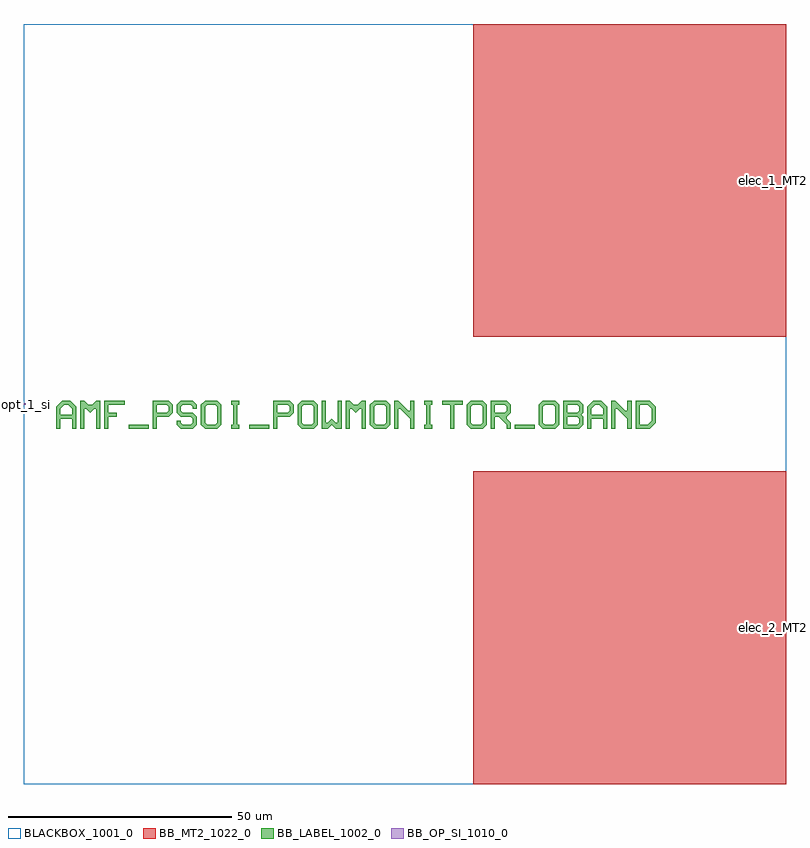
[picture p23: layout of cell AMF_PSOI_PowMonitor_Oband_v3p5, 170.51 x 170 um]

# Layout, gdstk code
import gdstk
lib = gdstk.Library(unit=1e-6, precision=1e-09)
def R(c, l, rs):  # rectangles x0, y0, x1, y1
    for r in rs: c.add(gdstk.rectangle(r[:2], r[2:], *l))
def P(c, l, *ps):  # polygons
    for p in ps: c.add(gdstk.Polygon(p, *l))
BLACKBOX_1001_0 = (1001, 0)
BB_LABEL_1002_0 = (1002, 0)
BB_OP_SI_1010_0 = (1010, 0)
BB_MT2_1022_0 = (1022, 0)

amf_psoi_powmonitor_oban = lib.new_cell('AMF_PSOI_PowMonitor_Oband_v3p5')
R(amf_psoi_powmonitor_oban, BLACKBOX_1001_0, [(0,-85,170.51,85)])
R(amf_psoi_powmonitor_oban, BB_LABEL_1002_0, [(23.423,-5.572,27.923,-4.672), (50.423,-5.572,54.923,-4.672), (109.823,-5.572,114.323,-4.672)])
P(amf_psoi_powmonitor_oban, BB_LABEL_1002_0, [(7.223,-5.572),(7.223,-0.622),(8.573,0.728),(10.373,0.728),(11.273,-0.172),(9.023,-0.172),(8.123,-1.072),(8.123,-2.422),(10.823,-2.422),(10.823,-1.072),(9.923,-0.172),(11.273,-0.172),(11.723,-0.622),(11.723,-5.572),(10.823,-5.572),(10.823,-3.322),(8.123,-3.322),(8.123,-5.572)],
  [(12.623,-5.572),(12.623,0.728),(13.523,0.728),(14.423,-0.172),(15.323,-0.172),(16.223,0.728),(17.123,0.728),(17.123,-5.572),(16.223,-5.572),(16.223,-1.072),(15.773,-1.072),(14.873,-1.972),(13.973,-1.072),(13.523,-1.072),(13.523,-5.572)],
  [(18.023,-5.572),(18.023,0.728),(22.523,0.728),(22.523,-0.172),(18.923,-0.172),(18.923,-1.972),(20.723,-1.972),(20.723,-2.872),(18.923,-2.872),(18.923,-5.572)],
  [(28.823,-5.572),(28.823,0.728),(32.423,0.728),(33.323,-0.172),(33.323,-1.972),(32.423,-2.872),(29.723,-2.872),(29.723,-1.972),(31.973,-1.972),(32.423,-1.522),(32.423,-0.622),(31.973,-0.172),(29.723,-0.172),(29.723,-5.572)],
  [(35.123,-5.572),(34.223,-4.672),(34.223,-3.772),(35.123,-3.772),(35.123,-4.222),(35.573,-4.672),(37.373,-4.672),(37.823,-4.222),(37.823,-3.322),(37.373,-2.872),(35.123,-2.872),(34.223,-1.972),(34.223,-0.172),(35.123,0.728),(37.823,0.728),(38.723,-0.172),(38.723,-1.072),(37.823,-1.072),(37.823,-0.622),(37.373,-0.172),(35.573,-0.172),(35.123,-0.622),(35.123,-1.522),(35.573,-1.972),(37.823,-1.972),(38.723,-2.872),(38.723,-4.672),(37.823,-5.572)],
  [(40.523,-5.572),(39.623,-4.672),(39.623,-0.172),(40.523,0.728),(43.223,0.728),(44.123,-0.172),(44.123,-2.422),(43.223,-2.422),(43.223,-0.622),(42.773,-0.172),(40.973,-0.172),(40.523,-0.622),(40.523,-4.222),(40.973,-4.672),(42.773,-4.672),(43.223,-4.222),(43.223,-2.422),(44.123,-2.422),(44.123,-4.672),(43.223,-5.572)],
  [(46.373,-5.572),(46.373,-4.672),(46.823,-4.672),(46.823,-0.172),(46.373,-0.172),(46.373,0.728),(48.173,0.728),(48.173,-0.172),(47.723,-0.172),(47.723,-4.672),(48.173,-4.672),(48.173,-5.572)],
  [(55.823,-5.572),(55.823,0.728),(59.423,0.728),(60.323,-0.172),(60.323,-1.972),(59.423,-2.872),(56.723,-2.872),(56.723,-1.972),(58.973,-1.972),(59.423,-1.522),(59.423,-0.622),(58.973,-0.172),(56.723,-0.172),(56.723,-5.572)],
  [(62.123,-5.572),(61.223,-4.672),(61.223,-0.172),(62.123,0.728),(64.823,0.728),(65.723,-0.172),(65.723,-2.422),(64.823,-2.422),(64.823,-0.622),(64.373,-0.172),(62.573,-0.172),(62.123,-0.622),(62.123,-4.222),(62.573,-4.672),(64.373,-4.672),(64.823,-4.222),(64.823,-2.422),(65.723,-2.422),(65.723,-4.672),(64.823,-5.572)],
  [(66.623,-5.572),(66.623,0.728),(67.523,0.728),(67.523,-4.222),(67.973,-4.222),(68.873,-3.322),(69.773,-4.222),(70.223,-4.222),(70.223,0.728),(71.123,0.728),(71.123,-5.572),(69.773,-5.572),(68.873,-4.672),(67.973,-5.572)],
  [(72.023,-5.572),(72.023,0.728),(72.923,0.728),(73.823,-0.172),(74.723,-0.172),(75.623,0.728),(76.523,0.728),(76.523,-5.572),(75.623,-5.572),(75.623,-1.072),(75.173,-1.072),(74.273,-1.972),(73.373,-1.072),(72.923,-1.072),(72.923,-5.572)],
  [(78.323,-5.572),(77.423,-4.672),(77.423,-0.172),(78.323,0.728),(81.023,0.728),(81.923,-0.172),(81.923,-2.422),(81.023,-2.422),(81.023,-0.622),(80.573,-0.172),(78.773,-0.172),(78.323,-0.622),(78.323,-4.222),(78.773,-4.672),(80.573,-4.672),(81.023,-4.222),(81.023,-2.422),(81.923,-2.422),(81.923,-4.672),(81.023,-5.572)],
  [(82.823,-5.572),(82.823,0.728),(83.723,0.728),(85.973,-1.522),(86.423,-1.522),(86.423,0.728),(87.323,0.728),(87.323,-5.572),(86.423,-5.572),(86.423,-3.322),(84.173,-1.072),(83.723,-1.072),(83.723,-5.572)],
  [(89.573,-5.572),(89.573,-4.672),(90.023,-4.672),(90.023,-0.172),(89.573,-0.172),(89.573,0.728),(91.373,0.728),(91.373,-0.172),(90.923,-0.172),(90.923,-4.672),(91.373,-4.672),(91.373,-5.572)],
  [(95.423,-5.572),(95.423,-0.172),(93.623,-0.172),(93.623,0.728),(98.123,0.728),(98.123,-0.172),(96.323,-0.172),(96.323,-5.572)],
  [(99.923,-5.572),(99.023,-4.672),(99.023,-0.172),(99.923,0.728),(102.623,0.728),(103.523,-0.172),(103.523,-2.422),(102.623,-2.422),(102.623,-0.622),(102.173,-0.172),(100.373,-0.172),(99.923,-0.622),(99.923,-4.222),(100.373,-4.672),(102.173,-4.672),(102.623,-4.222),(102.623,-2.422),(103.523,-2.422),(103.523,-4.672),(102.623,-5.572)],
  [(104.423,-5.572),(104.423,0.728),(108.023,0.728),(108.923,-0.172),(105.323,-0.172),(105.323,-1.972),(107.573,-1.972),(108.023,-1.522),(108.023,-0.622),(107.573,-0.172),(108.923,-0.172),(108.923,-1.972),(108.023,-2.872),(108.023,-3.322),(108.923,-4.222),(108.923,-5.572),(108.023,-5.572),(108.023,-4.672),(106.223,-2.872),(105.323,-2.872),(105.323,-5.572)],
  [(116.123,-5.572),(115.223,-4.672),(115.223,-0.172),(116.123,0.728),(118.823,0.728),(119.723,-0.172),(119.723,-2.422),(118.823,-2.422),(118.823,-0.622),(118.373,-0.172),(116.573,-0.172),(116.123,-0.622),(116.123,-4.222),(116.573,-4.672),(118.373,-4.672),(118.823,-4.222),(118.823,-2.422),(119.723,-2.422),(119.723,-4.672),(118.823,-5.572)],
  [(120.623,-5.572),(120.623,0.728),(124.223,0.728),(125.123,-0.172),(121.523,-0.172),(121.523,-1.972),(123.773,-1.972),(124.223,-1.522),(124.223,-0.622),(123.773,-0.172),(125.123,-0.172),(125.123,-1.972),(124.673,-2.422),(125.123,-2.872),(121.523,-2.872),(121.523,-4.672),(123.773,-4.672),(124.223,-4.222),(124.223,-3.322),(123.773,-2.872),(125.123,-2.872),(125.123,-4.672),(124.223,-5.572)],
  [(126.023,-5.572),(126.023,-0.622),(127.373,0.728),(129.173,0.728),(130.073,-0.172),(127.823,-0.172),(126.923,-1.072),(126.923,-2.422),(129.623,-2.422),(129.623,-1.072),(128.723,-0.172),(130.073,-0.172),(130.523,-0.622),(130.523,-5.572),(129.623,-5.572),(129.623,-3.322),(126.923,-3.322),(126.923,-5.572)],
  [(131.423,-5.572),(131.423,0.728),(132.323,0.728),(134.573,-1.522),(135.023,-1.522),(135.023,0.728),(135.923,0.728),(135.923,-5.572),(135.023,-5.572),(135.023,-3.322),(132.773,-1.072),(132.323,-1.072),(132.323,-5.572)],
  [(136.823,-5.572),(136.823,0.728),(139.973,0.728),(140.873,-0.172),(137.723,-0.172),(137.723,-4.672),(139.523,-4.672),(140.423,-3.772),(140.423,-1.072),(139.523,-0.172),(140.873,-0.172),(141.323,-0.622),(141.323,-4.222),(139.973,-5.572)])
R(amf_psoi_powmonitor_oban, BB_OP_SI_1010_0, [(0,-0.205,0.41,0.205)])
R(amf_psoi_powmonitor_oban, BB_MT2_1022_0, [(100.51,-85,170.51,-15), (100.51,15,170.51,85)])
amf_psoi_powmonitor_oban.add(gdstk.Label('opt_1_si', (0,0), layer=1010, texttype=0))
amf_psoi_powmonitor_oban.add(gdstk.Label('elec_1_MT2', (170.51,50), layer=1022, texttype=0))
amf_psoi_powmonitor_oban.add(gdstk.Label('elec_2_MT2', (170.51,-50), layer=1022, texttype=0))

lib.write_gds('AMF_PSOI_PowMonitor_Oband_v3p5.gds')
